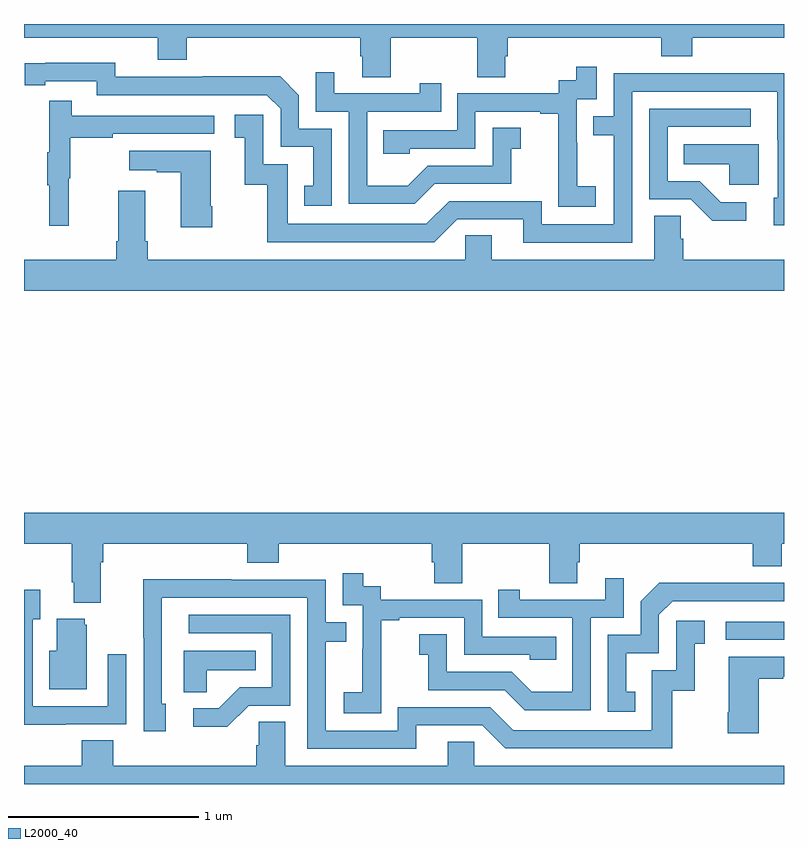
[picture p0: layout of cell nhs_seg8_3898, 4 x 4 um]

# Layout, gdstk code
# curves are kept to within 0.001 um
import gdstk
lib = gdstk.Library(unit=1e-6, precision=1e-09)
def R(c, l, rs):  # rectangles x0, y0, x1, y1
    for r in rs: c.add(gdstk.rectangle(r[:2], r[2:], *l))
def P(c, l, *ps):  # polygons
    for p in ps: c.add(gdstk.Polygon(p, *l))
L2000_40 = (2000, 40)

nhs_seg8_3898 = lib.new_cell('nhs_seg8_3898')
R(nhs_seg8_3898, L2000_40, [(354.693,1118.658,355,1118.754)])
P(nhs_seg8_3898, L2000_40, [(352.929,1121.828),(353.386,1121.828),(353.386,1121.62),(353.533,1121.62),(353.533,1121.73),(353.546,1121.73),(353.546,1121.828),(354.353,1121.828),(354.353,1121.729),(354.518,1121.729),(354.518,1121.828),(355,1121.828),(355,1121.9),(351,1121.9),(351,1121.828),(351.704,1121.828),(351.704,1121.711),(351.857,1121.711),(351.857,1121.828),(352.769,1121.828),(352.769,1121.73),(352.781,1121.73),(352.781,1121.62),(352.929,1121.62)],
  [(352.62,1121.349),(352.446,1121.349),(352.446,1121.526),(352.348,1121.624),(351.94,1121.624),(351.94,1121.622),(351.48,1121.622),(351.48,1121.695),(351.004,1121.694),(351.004,1121.578),(351.112,1121.578),(351.112,1121.598),(351.384,1121.598),(351.384,1121.526),(352.278,1121.526),(352.35,1121.454),(352.35,1121.253),(352.523,1121.253),(352.523,1121.049),(352.474,1121.049),(352.474,1120.944),(352.62,1120.944)],
  [(354.01,1121.047),(353.912,1121.047),(353.912,1121.276),(353.91,1121.276),(353.91,1121.505),(354.015,1121.505),(354.015,1121.674),(353.907,1121.674),(353.907,1121.604),(353.814,1121.604),(353.814,1121.535),(353.28,1121.535),(353.28,1121.34),(352.891,1121.34),(352.891,1121.217),(353.031,1121.217),(353.031,1121.244),(353.376,1121.244),(353.376,1121.439),(353.717,1121.439),(353.717,1121.427),(353.813,1121.427),(353.813,1121.143),(353.812,1121.143),(353.812,1120.937),(354.01,1120.937)],
  [(353.161,1121.058),(353.565,1121.058),(353.565,1121.243),(353.614,1121.243),(353.614,1121.353),(353.466,1121.353),(353.466,1121.154),(353.124,1121.154),(353.02,1121.05),(352.806,1121.05),(352.806,1121.439),(353.195,1121.439),(353.195,1121.587),(353.084,1121.587),(353.084,1121.535),(352.633,1121.535),(352.633,1121.647),(352.536,1121.647),(352.536,1121.439),(352.71,1121.439),(352.71,1120.953),(353.056,1120.953)],
  [(354.201,1121.544),(354.965,1121.544),(354.966,1120.986),(354.947,1120.986),(354.947,1120.842),(355,1120.842),(355,1121.642),(354.601,1121.642),(354.601,1121.64),(354.105,1121.64),(354.105,1121.415),(353.995,1121.415),(353.995,1121.314),(354.105,1121.314),(354.105,1120.845),(353.724,1120.845),(353.724,1120.968),(353.238,1120.968),(353.118,1120.848),(352.389,1120.848),(352.389,1121.163),(352.26,1121.163),(352.26,1121.422),(352.11,1121.422),(352.11,1121.301),(352.163,1121.301),(352.163,1121.055),(352.281,1121.055),(352.281,1120.752),(353.16,1120.752),(353.28,1120.872),(353.627,1120.872),(353.627,1120.749),(354.201,1120.749)],
  [(351.236,1121.088),(351.244,1121.088),(351.244,1121.302),(351.467,1121.302),(351.467,1121.322),(352,1121.322),(352,1121.418),(351.251,1121.418),(351.251,1121.497),(351.134,1121.497),(351.134,1121.225),(351.123,1121.225),(351.123,1121.051),(351.134,1121.051),(351.134,1120.839),(351.236,1120.839)],
  [(354.802,1120.962),(354.667,1120.962),(354.556,1121.073),(354.387,1121.073),(354.387,1121.358),(354.826,1121.358),(354.826,1121.454),(354.291,1121.454),(354.291,1120.977),(354.51,1120.977),(354.623,1120.865),(354.802,1120.865)],
  [(354.868,1121.266),(354.472,1121.266),(354.472,1121.162),(354.711,1121.162),(354.711,1121.054),(354.868,1121.054)],
  [(351.99,1120.942),(351.982,1120.942),(351.982,1121.233),(351.555,1121.233),(351.555,1121.129),(351.698,1121.129),(351.698,1121.119),(351.824,1121.119),(351.824,1120.83),(351.99,1120.83)],
  [(355,1120.66),(354.47,1120.66),(354.47,1120.769),(354.456,1120.769),(354.456,1120.892),(354.317,1120.892),(354.317,1120.66),(353.461,1120.66),(353.461,1120.787),(353.322,1120.787),(353.322,1120.66),(351.65,1120.66),(351.65,1120.756),(351.637,1120.756),(351.637,1121.023),(351.497,1121.023),(351.497,1120.756),(351.485,1120.756),(351.485,1120.66),(351,1120.66),(351,1120.496),(355,1120.496)],
  [(351.403,1119.068),(351.416,1119.068),(351.416,1119.164),(352.175,1119.164),(352.175,1119.065),(352.34,1119.065),(352.34,1119.164),(353.147,1119.164),(353.147,1119.066),(353.159,1119.066),(353.159,1118.956),(353.307,1118.956),(353.307,1119.164),(353.764,1119.164),(353.764,1118.956),(353.911,1118.956),(353.911,1119.066),(353.924,1119.066),(353.924,1119.164),(354.836,1119.164),(354.836,1119.047),(354.988,1119.047),(354.988,1119.164),(355,1119.164),(355,1119.328),(351,1119.328),(351,1119.164),(351.251,1119.164),(351.251,1118.962),(351.263,1118.962),(351.263,1118.855),(351.403,1118.855)],
  [(352.881,1118.479),(352.88,1118.479),(352.88,1118.763),(352.975,1118.763),(352.975,1118.775),(353.316,1118.775),(353.316,1118.58),(353.661,1118.58),(353.661,1118.553),(353.801,1118.553),(353.801,1118.676),(353.412,1118.676),(353.412,1118.871),(352.878,1118.871),(352.878,1118.94),(352.786,1118.94),(352.786,1119.01),(352.677,1119.01),(352.677,1118.841),(352.782,1118.841),(352.782,1118.612),(352.781,1118.612),(352.781,1118.383),(352.683,1118.383),(352.683,1118.273),(352.881,1118.273)],
  [(353.982,1118.775),(354.156,1118.775),(354.156,1118.983),(354.059,1118.983),(354.059,1118.871),(353.608,1118.871),(353.608,1118.923),(353.497,1118.923),(353.497,1118.775),(353.886,1118.775),(353.886,1118.386),(353.672,1118.386),(353.568,1118.49),(353.226,1118.49),(353.226,1118.689),(353.079,1118.689),(353.079,1118.579),(353.128,1118.579),(353.128,1118.394),(353.531,1118.394),(353.636,1118.289),(353.982,1118.289)],
  [(353.065,1118.208),(353.412,1118.208),(353.532,1118.088),(354.412,1118.088),(354.412,1118.391),(354.53,1118.391),(354.53,1118.637),(354.583,1118.637),(354.583,1118.758),(354.432,1118.758),(354.432,1118.499),(354.303,1118.499),(354.303,1118.184),(353.574,1118.184),(353.454,1118.304),(352.968,1118.304),(352.968,1118.181),(352.587,1118.181),(352.587,1118.65),(352.697,1118.65),(352.697,1118.751),(352.587,1118.751),(352.587,1118.976),(352.091,1118.976),(352.091,1118.978),(351.628,1118.978),(351.628,1118.671),(351.63,1118.671),(351.63,1118.178),(351.745,1118.178),(351.745,1118.322),(351.726,1118.322),(351.726,1118.88),(352.491,1118.88),(352.491,1118.085),(353.065,1118.085)],
  [(354.218,1118.385),(354.169,1118.385),(354.169,1118.589),(354.342,1118.589),(354.342,1118.79),(354.414,1118.862),(355,1118.862),(355,1118.958),(354.752,1118.958),(354.752,1118.96),(354.344,1118.96),(354.246,1118.862),(354.246,1118.685),(354.072,1118.685),(354.072,1118.28),(354.218,1118.28)],
  [(351.221,1118.214),(351.537,1118.214),(351.537,1118.584),(351.441,1118.584),(351.441,1118.31),(351.045,1118.31),(351.045,1118.767),(351.085,1118.767),(351.085,1118.923),(351,1118.923),(351,1118.213),(351.221,1118.213)],
  [(352.182,1118.313),(352.401,1118.313),(352.401,1118.79),(351.867,1118.79),(351.867,1118.694),(352.305,1118.694),(352.305,1118.409),(352.136,1118.409),(352.025,1118.298),(351.891,1118.298),(351.891,1118.201),(352.069,1118.201)],
  [(351.331,1118.739),(351.32,1118.739),(351.32,1118.77),(351.173,1118.77),(351.173,1118.602),(351.134,1118.602),(351.134,1118.399),(351.331,1118.399)],
  [(351.963,1118.498),(352.22,1118.498),(352.22,1118.602),(351.842,1118.602),(351.842,1118.383),(351.963,1118.383)],
  [(354.868,1118.455),(354.995,1118.455),(354.995,1118.465),(355,1118.465),(355,1118.569),(354.71,1118.569),(354.71,1118.278),(354.703,1118.278),(354.703,1118.166),(354.868,1118.166)],
  [(355,1117.996),(353.37,1117.996),(353.37,1118.123),(353.231,1118.123),(353.231,1117.996),(352.375,1117.996),(352.375,1118.228),(352.236,1118.228),(352.236,1118.105),(352.223,1118.105),(352.223,1117.996),(351.47,1117.996),(351.47,1118.129),(351.305,1118.129),(351.305,1117.996),(351,1117.996),(351,1117.9),(355,1117.9)])

lib.write_gds('nhs_seg8_3898.gds')
